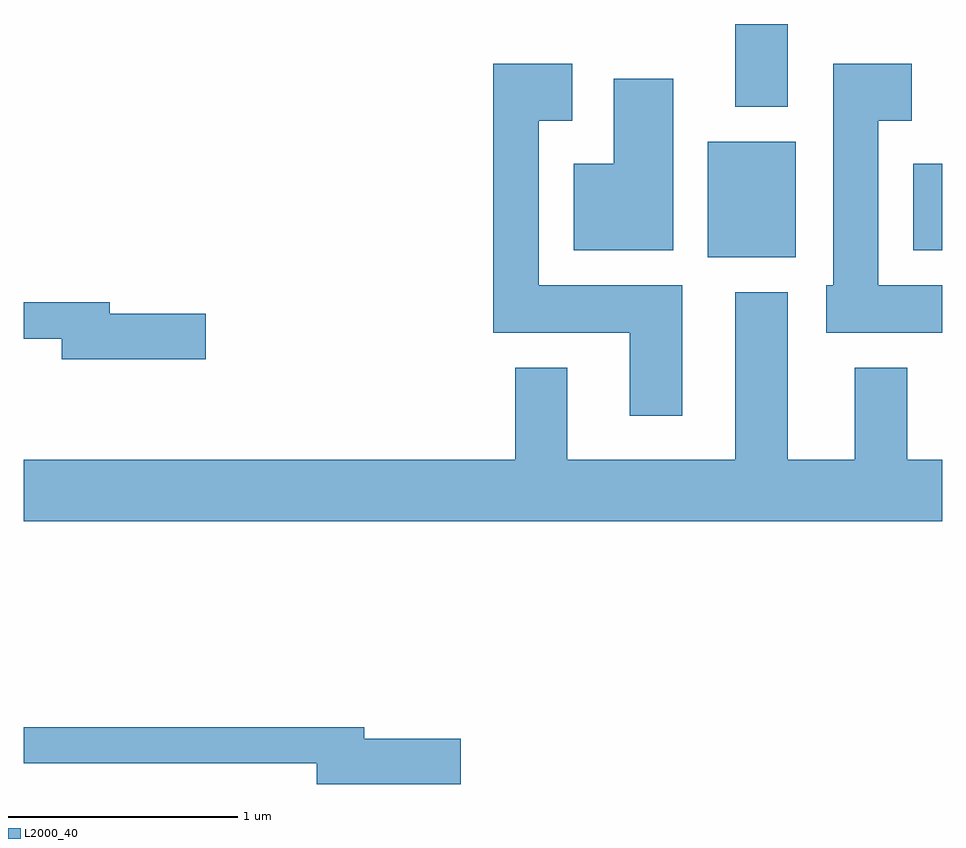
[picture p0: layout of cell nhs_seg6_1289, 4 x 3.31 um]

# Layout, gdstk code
import gdstk
lib = gdstk.Library(unit=1e-6, precision=1e-09)
def R(c, l, rs):  # rectangles x0, y0, x1, y1
    for r in rs: c.add(gdstk.rectangle(r[:2], r[2:], *l))
def P(c, l, *ps):  # polygons
    for p in ps: c.add(gdstk.Polygon(p, *l))
L2000_40 = (2000, 40)

nhs_seg6_1289 = lib.new_cell('nhs_seg6_1289')
R(nhs_seg6_1289, L2000_40, [(226.591,1591.146,226.974,1591.649), (227.486,1591.176,227.611,1591.554), (226.711,1591.801,226.939,1592.162)])
P(nhs_seg6_1289, L2000_40, [(227.611,1591.024),(227.334,1591.024),(227.334,1591.741),(227.479,1591.741),(227.479,1591.989),(227.136,1591.989),(227.136,1591.024),(227.106,1591.024),(227.106,1590.816),(227.611,1590.816)],
  [(226.479,1591.024),(225.854,1591.024),(225.854,1591.741),(225.999,1591.741),(225.999,1591.989),(225.656,1591.989),(225.656,1590.816),(226.251,1590.816),(226.251,1590.456),(226.479,1590.456)],
  [(226.439,1591.924),(226.181,1591.924),(226.181,1591.554),(226.006,1591.554),(226.006,1591.176),(226.439,1591.176)],
  [(227.611,1590.264),(227.459,1590.264),(227.459,1590.664),(227.231,1590.664),(227.231,1590.264),(226.939,1590.264),(226.939,1590.994),(226.711,1590.994),(226.711,1590.264),(225.979,1590.264),(225.979,1590.664),(225.751,1590.664),(225.751,1590.264),(223.611,1590.264),(223.611,1589.996),(227.611,1589.996)],
  [(224.404,1590.899),(223.984,1590.899),(223.984,1590.949),(223.611,1590.949),(223.611,1590.791),(223.776,1590.791),(223.776,1590.701),(224.404,1590.701)],
  [(225.514,1589.049),(225.094,1589.049),(225.094,1589.099),(223.611,1589.099),(223.611,1588.941),(224.886,1588.941),(224.886,1588.851),(225.514,1588.851)])

lib.write_gds('nhs_seg6_1289.gds')
